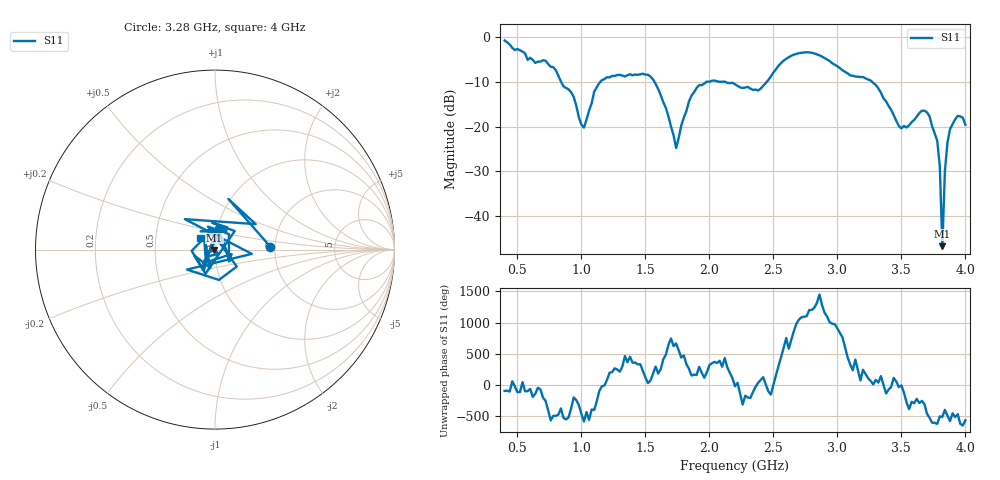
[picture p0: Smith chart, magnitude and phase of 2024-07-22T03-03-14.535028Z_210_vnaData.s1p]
!Created with skrf (http://scikit-rf.org).
# Hz S RI R 50.0
!freq ReS11 ImS11
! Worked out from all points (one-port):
!   181 points, 400 MHz to 4 GHz, reference 50 ohm
!   lowest |S11| = -46.7 dB at 3.82 GHz (marker M1), VSWR 1.01, Z = 49.6 - j0.139 ohm
!   |S11| at or under -10 dB: 1.571 GHz to 1.978 GHz (407 MHz wide, 22.9 % of centre); 2.124 GHz to 2.448 GHz (324.3 MHz wide, 14.2 % of centre); 3.271 GHz to end of sweep (the widest 3 of 5)
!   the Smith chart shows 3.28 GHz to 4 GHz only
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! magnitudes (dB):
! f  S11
! 400 MHz  -0.8
! 720 MHz  -5.3
! 860 MHz  -11.0
! 940 MHz  -13.4
! 1.02 GHz  -20.2
! 1.14 GHz  -10.2
! 1.3 GHz  -8.4
! 1.54 GHz  -8.8
! 1.66 GHz  -15.8
! 1.74 GHz  -24.8
! 1.76 GHz  -22.5
! 1.84 GHz  -14.4
! 1.92 GHz  -10.7
! 2.2 GHz  -10.5
! 2.38 GHz  -11.9
! 2.66 GHz  -3.9
! 3.1 GHz  -8.6
! 3.26 GHz  -9.7
! 3.48 GHz  -19.8
! 3.56 GHz  -19.7
! 3.68 GHz  -16.4
! 3.78 GHz  -23.1
! 3.8 GHz  -28.8
! 3.82 GHz  -46.7
! 3.84 GHz  -29.9
! 3.86 GHz  -23.5
! 3.94 GHz  -17.6
! 4 GHz  -19.6
